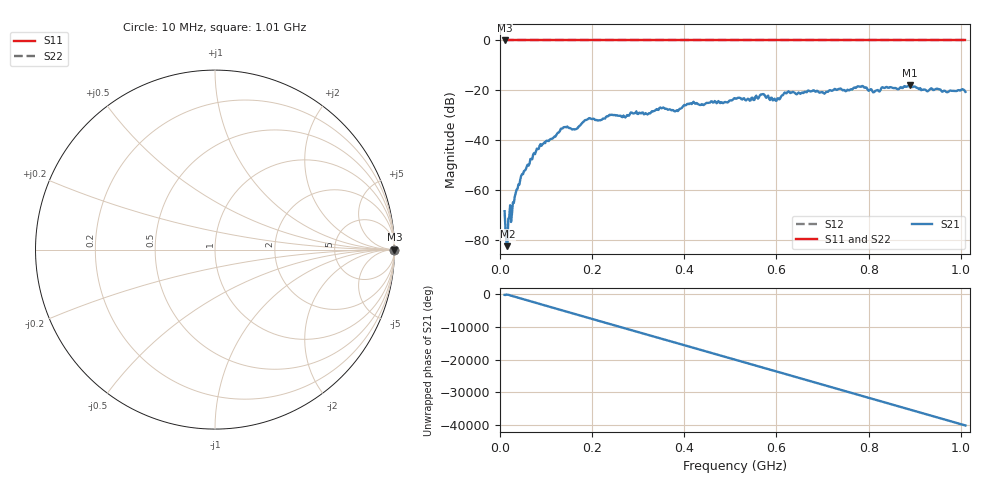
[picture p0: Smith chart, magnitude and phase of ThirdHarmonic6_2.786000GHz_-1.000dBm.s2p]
! 8/17/2025 7:10:38 AM
! C:\ANRITSUVNA\TEMP\TEMP.S2P
! CHANNEL.1
! TR.MEASUREMENT
! RAW.DATA
! RF.CORRECTION.OFF
! AVERAGING.OFF
! IF.BANDWIDTH: 5KHZ
! SWEEPTYPE:  FREQ.SWEEP(Linear)
! Reference Plane Port Info
! PORT:  PORT1  PORT2
! DISTANCE:  0  m  0  m
! TIME:  0  s  0  s
! PHASE.OFFSET:  0  deg.  0  deg.
! LOSS:  0  dB  0  dB
! REF.LOSS:  0  dB  0  dB
! REF.FREQ:  0  Hz  0  Hz
! Power Info
! POWER:  -20  dBm  -20  dBm
! EFF.POWER:  -20  dBm  -20  dBm
! SOURCE.ATTEN:  0  dB  0  dB
! TEST.ATTEN:  0  dB  0  dB
# GHZ S RI R 50.0
! FREQ.GHZ  S11RE  S11IM  S21RE  S21IM  S12RE  S12IM  S22RE  S22IM
!; PortSelection: Port_12
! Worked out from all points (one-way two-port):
!   501 points, 10 MHz to 1.01 GHz, reference 50 ohm
!   highest |S21| = -18.06 dB at 890 MHz (marker M1); lowest = -82.5 dB at 16 MHz (marker M2)
!   lowest |S11| = 0.0 dB at 10 MHz (marker M3)
!   |S11| at or under -10 dB: nowhere
!   |S22| runs from 0.0 to 0.0 dB; largest |S21 - S12| = 1.1
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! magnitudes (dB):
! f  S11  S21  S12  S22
! 10 MHz  0.0  -68.5  0.0  0.0
! 16 MHz  0.0  -82.5  0.0  0.0
! 32 MHz  0.0  -62.7  0.0  0.0
! 44 MHz  0.0  -55.8  0.0  0.0
! 76 MHz  0.0  -45.6  0.0  0.0
! 136 MHz  0.0  -35.3  0.0  0.0
! 164 MHz  0.0  -35.6  0.0  0.0
! 178 MHz  0.0  -33.2  0.0  0.0
! 344 MHz  0.0  -27.9  0.0  0.0
! 382 MHz  0.0  -28.2  0.0  0.0
! 416 MHz  0.0  -25.5  0.0  0.0
! 510 MHz  0.0  -23.2  0.0  0.0
! 546 MHz  0.0  -23.0  0.0  0.0
! 570 MHz  0.0  -21.5  0.0  0.0
! 596 MHz  0.0  -23.4  0.0  0.0
! 622 MHz  0.0  -21.2  0.0  0.0
! 678 MHz  0.0  -20.2  0.0  0.0
! 784 MHz  0.0  -18.5  0.0  0.0
! 812 MHz  0.0  -20.7  0.0  0.0
! 844 MHz  0.0  -19.0  0.0  0.0
! 890 MHz  0.0  -18.1  0.0  0.0
! 1.01 GHz  0.0  -20.6  0.0  0.0
